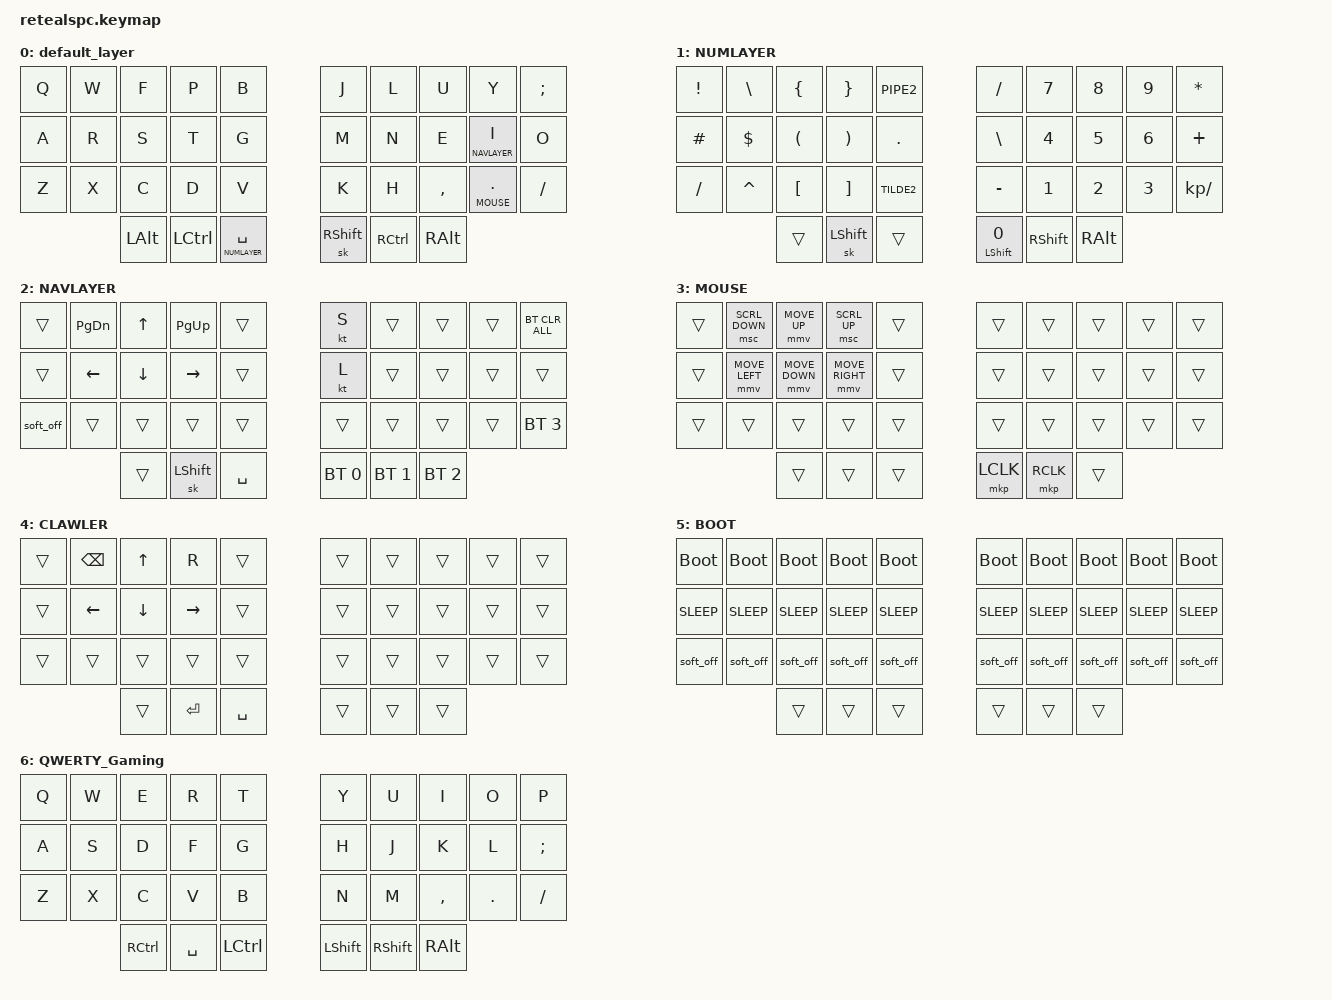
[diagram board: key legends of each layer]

#include <behaviors.dtsi>
#include <dt-bindings/zmk/keys.h>
#include <dt-bindings/zmk/bt.h>

#define ZMK_POINTING_DEFAULT_MOVE_VAL 3000  // default: 600
#define ZMK_POINTING_DEFAULT_SCRL_VAL 40    // default: 10

#include <dt-bindings/zmk/pointing.h>


#define DEFAULT         0
#define NUMLAYER        1
#define NAVLAYER        2
#define MOUSE           3
#define CLAWLER         4
#define BOOT            5
#define QWERTY_Gaming   6

/*
  ╭─────────────────────┬─────────────────────╮ 
  │  0   1   2   3   4  │  5   6   7   8   9  │ 
  │ 10  11  12  13  14  │ 15  16  17  18  19  │ 
  │ 20  21  22  23  24  │ 25  26  27  28  29  │ 
  ╰───────╮ 30  31  32  │ 33  34  35 ╭────────╯ 
          ╰─────────────┴────────────╯            */

/ {
     behaviors {
        nbspc: n_bspc {
            compatible = "zmk,behavior-mod-morph";
            #binding-cells = <0>;
            bindings = <&kp N>, <&kp BSPC>;
            mods = <(MOD_LCTL|MOD_RALT)>;
        };
    };
    
    combos {
        compatible = "zmk,combos";
        combo_esc {
            timeout-ms = <50>;
            key-positions = <0 1>;
            bindings = <&kp ESC>;
        };
        combo_ent {
            timeout-ms = <50>;
            key-positions = <26 27>;
            bindings = <&kp RET>;
        };
        combo_bspc {
            timeout-ms = <50>;
            key-positions = <16 17>;
            bindings = <&kp BSPC>;
        };
        combo_tab {
            timeout-ms = <50>;
            key-positions = <2 3>;
            bindings = <&kp TAB>;
        };
        combo_quote {
            timeout-ms = <50>;
            key-positions = <6 7>;
            bindings = <&kp SQT>;
        };
        combo_lclk {
            timeout-ms = <50>;
            key-positions = <12 13>;
            bindings = <&mkp MB1>;
        };
        combo_rclk {
            timeout-ms = <50>;
            key-positions = <11 12>;
            bindings = <&mkp MB2>;
        };
        combo_del {
            timeout-ms = <50>;
            key-positions = <22 23>;
            bindings = <&kp DEL>;
        };
        combo_clawler {
            timeout-ms = <50>;
            key-positions = <0 1 2>;
            bindings = <&tog CLAWLER>;
        };
        combo_boot {
            timeout-ms = <50>;
            key-positions = <27 28 29>;
            bindings = <&tog BOOT>;
        };
        combo_qwert {
            timeout-ms = <50>;
            key-positions = <5 15 25>;
            bindings = <&tog QWERTY_Gaming>;
        };
        combo_lgui {
            timeout-ms = <50>;
            key-positions = <22 23>;
            bindings = <&kp LGUI>;
        };
        combo_equal {
            timeout-ms = <50>;
            key-positions = <1 2>;
            bindings = <&kp EQUAL>;
        };
        combo_fslh {
            timeout-ms = <50>;
            key-positions = <7 8>;
            bindings = <&kp FSLH>;
        };
            combo_minus {
            timeout-ms = <50>;
            key-positions = <17 18>;
            bindings = <&kp MINUS>;
        };
            combo_btclr {
            timeout-ms = <50>;
            key-positions = <0 10 20>;
            bindings = <&bt BT_CLR_ALL>;
        };

    };
};

/ {
        keymap {
                compatible = "zmk,keymap";
                default_layer {
                        bindings = <
                            &kp Q   &kp W   &kp F       &kp P       &kp B                       &kp J       &kp L       &kp U       &kp Y               &kp SEMI     
                            &kp A   &kp R   &kp S       &kp T       &kp G                       &kp M       &kp N       &kp E       &lt NAVLAYER I      &kp O        
                            &kp Z   &kp X   &kp C       &kp D       &kp V                       &kp K       &kp H       &kp COMMA   &lt MOUSE DOT       &kp FSLH     
                                            &kp LALT    &kp LCTRL   &lt NUMLAYER SPACE          &sk RSHIFT  &kp RCTRL   &kp RALT 
                  
                        >;
                };
                NUMLAYER {

                        bindings = <
                            &kp EXCL    &kp BSLH    &kp LBRC    &kp RBRC    &kp PIPE2               &kp FSLH                &kp N7      &kp N8     &kp N9   &kp ASTRK          
                            &kp HASH    &kp DLLR    &kp LPAR    &kp RPAR    &kp DOT                 &kp BSLH                &kp N4      &kp N5     &kp N6   &kp PLUS           
                            &kp FSLH    &kp CARET   &kp LBKT    &kp RBKT    &kp TILDE2              &kp MINUS               &kp N1      &kp N2     &kp N3   &kp KP_DIVIDE      
                                                    &trans      &sk LSHIFT  &trans                  &mt LSHIFT NUMBER_0     &kp RSHIFT  &kp RALT
                  
                        >;
                };
                NAVLAYER {

                        bindings = <
                            &trans      &kp PG_DN   &kp UP      &kp PG_UP   &trans                  &kt S           &trans          &trans          &trans  &bt BT_CLR_ALL  
                            &trans      &kp LEFT    &kp DOWN    &kp RIGHT   &trans                  &kt L           &trans          &trans          &trans  &trans          
                            &soft_off   &trans      &trans      &trans      &trans                  &trans          &trans          &trans          &trans  &bt BT_SEL 3    
                                                    &trans      &sk LSHIFT  &kp SPACE               &bt BT_SEL 0    &bt BT_SEL 1    &bt BT_SEL 2
                  
                        >;
                };
                MOUSE {

                        bindings = <
                            &trans  &msc SCRL_DOWN      &mmv MOVE_UP    &msc SCRL_UP        &trans                  &trans      &trans      &trans  &trans  &trans 
                            &trans  &mmv MOVE_LEFT      &mmv MOVE_DOWN  &mmv MOVE_RIGHT     &trans                  &trans      &trans      &trans  &trans  &trans 
                            &trans  &trans              &trans          &trans              &trans                  &trans      &trans      &trans  &trans  &trans 
                                                        &trans          &trans              &trans                  &mkp LCLK   &mkp RCLK   &trans                  
                        >;
                };
                CLAWLER {

                        bindings = <
                            &trans &kp BSPC     &kp UP      &kp R       &trans                  &trans   &trans     &trans    &trans   &trans      
                            &trans &kp LEFT     &kp DOWN    &kp RIGHT   &trans                  &trans   &trans     &trans    &trans   &trans      
                            &trans &trans       &trans      &trans      &trans                  &trans   &trans     &trans    &trans   &trans       
                                                &trans      &kp RET     &kp SPACE               &trans &trans &trans
                  
                        >;
                };
                BOOT {

                        bindings = <
                            &bootloader     &bootloader     &bootloader     &bootloader     &bootloader             &bootloader     &bootloader     &bootloader     &bootloader     &bootloader 
                            &kp K_SLEEP     &kp K_SLEEP     &kp K_SLEEP     &kp K_SLEEP     &kp K_SLEEP             &kp K_SLEEP     &kp K_SLEEP     &kp K_SLEEP     &kp K_SLEEP     &kp K_SLEEP  
                            &soft_off       &soft_off       &soft_off       &soft_off       &soft_off               &soft_off       &soft_off       &soft_off       &soft_off       &soft_off 
                                                            &trans          &trans          &trans                  &trans          &trans          &trans                  
                        >;
                };
                QWERTY_Gaming {

                        bindings = <
                            &kp Q    &kp W      &kp E    &kp R    &kp T             &kp Y       &kp U      &kp I        &kp O       &kp P          
                            &kp A    &kp S      &kp D    &kp F    &kp G             &kp H       &kp J      &kp K        &kp L       &kp SEMI           
                            &kp Z    &kp X      &kp C    &kp V    &kp B             &kp N       &kp M      &kp COMMA    &kp DOT     &kp FSLH      
                                            &kp RCTRL  &kp SPACE  &kp LCTRL        &kp LSHIFT &kp RSHIFT  &kp RALT
                  
                        >;
                };

        };
};
/* You will never find what you seek... stop looking */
